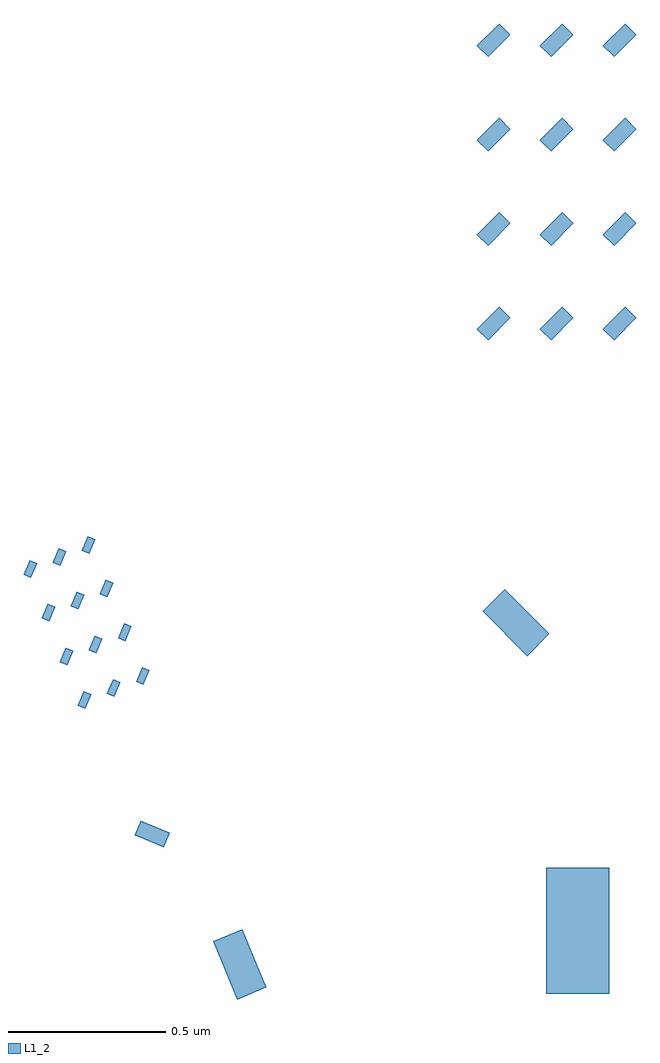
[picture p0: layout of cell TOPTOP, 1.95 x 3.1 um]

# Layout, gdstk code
from math import pi, radians
import gdstk
lib = gdstk.Library(unit=1e-6, precision=1e-09)
def R(c, l, rs):  # rectangles x0, y0, x1, y1
    for r in rs: c.add(gdstk.rectangle(r[:2], r[2:], *l))
L1_2 = (1, 2)

c_a = lib.new_cell('A')
R(c_a, L1_2, [(0.03,-0.04,0.13,0.16)])

top = lib.new_cell('TOP')
top.add(gdstk.Reference(c_a, (-0.1,0.1), magnification=2))
top.add(gdstk.Reference(c_a, (-0.15,1.1), rotation=radians(45)))
r = gdstk.Reference(c_a, (-0.2,2.1), rotation=radians(135), magnification=0.5, x_reflection=True); r.repetition = gdstk.Repetition(3, 4, v1=(0.2,0), v2=(0,0.3)); top.add(r)

toptop = lib.new_cell('TOPTOP')
toptop.add(gdstk.Reference(top, (0.1,0), rotation=radians(22.5), magnification=0.5))
toptop.add(gdstk.Reference(top, (1.1,0)))

lib.write_gds('TOPTOP.gds')
